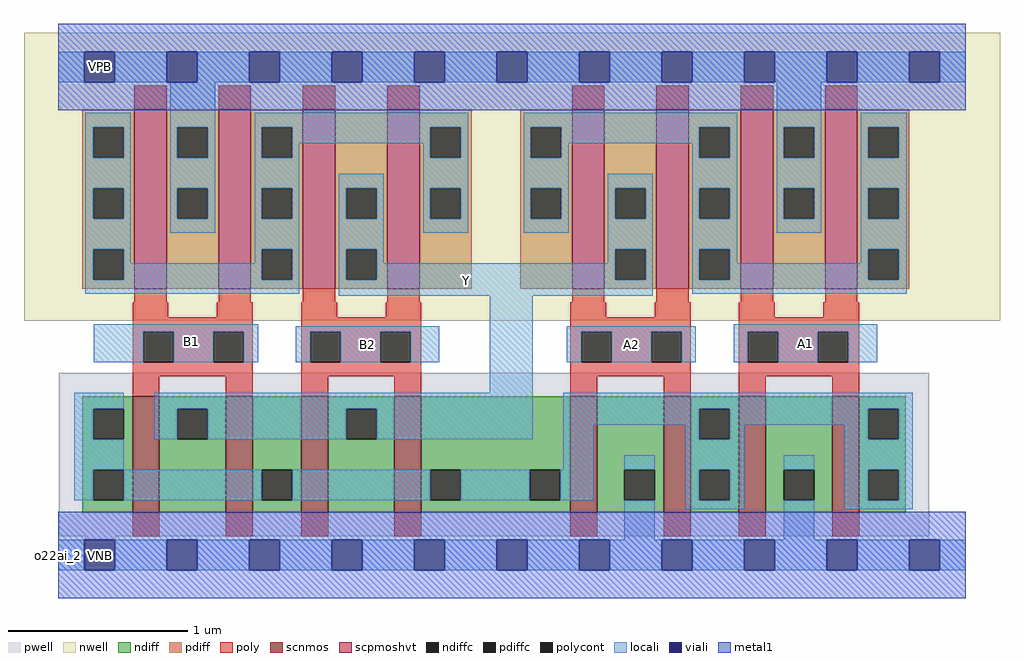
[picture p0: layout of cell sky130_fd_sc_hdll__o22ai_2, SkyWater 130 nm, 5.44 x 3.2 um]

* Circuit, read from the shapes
.subckt sky130_fd_sc_hdll__o22ai_2 A1 A2 B1 B2 VGND VNB VPB VPWR Y
XM1 Y B1 n1 VNB sky130_fd_pr__nfet_01v8 w=0.65 l=0.15 m=2
XM2 Y B2 n1 VNB sky130_fd_pr__nfet_01v8 w=0.65 l=0.15 m=2
XM3 VGND A2 n1 VNB sky130_fd_pr__nfet_01v8 w=0.65 l=0.15 m=2
XM4 VGND A1 n1 VNB sky130_fd_pr__nfet_01v8 w=0.65 l=0.15 m=2
XM5 VPWR B1 n2 VPB sky130_fd_pr__pfet_01v8_hvt w=1 l=0.18 m=2
XM6 Y B2 n2 VPB sky130_fd_pr__pfet_01v8_hvt w=1 l=0.18 m=2
XM7 Y A2 n3 VPB sky130_fd_pr__pfet_01v8_hvt w=1 l=0.18 m=2
XM8 VPWR A1 n3 VPB sky130_fd_pr__pfet_01v8_hvt w=1 l=0.18 m=2
.ends

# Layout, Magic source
magic
tech sky130A
magscale 1 2
<< nwell >>
rect -38 261 1050 582
<< pwell >>
rect 1 21 971 203
rect 30 -17 64 21
<< scnmos >>
rect 83 47 113 177
rect 187 47 217 177
rect 271 47 301 177
rect 375 47 405 177
rect 571 47 601 177
rect 675 47 705 177
rect 759 47 789 177
rect 863 47 893 177
<< scpmoshvt >>
rect 85 297 121 497
rect 179 297 215 497
rect 273 297 309 497
rect 367 297 403 497
rect 573 297 609 497
rect 667 297 703 497
rect 761 297 797 497
rect 855 297 891 497
<< ndiff >>
rect 27 163 83 177
rect 27 129 39 163
rect 73 129 83 163
rect 27 95 83 129
rect 27 61 39 95
rect 73 61 83 95
rect 27 47 83 61
rect 113 163 187 177
rect 113 129 133 163
rect 167 129 187 163
rect 113 47 187 129
rect 217 95 271 177
rect 217 61 227 95
rect 261 61 271 95
rect 217 47 271 61
rect 301 163 375 177
rect 301 129 321 163
rect 355 129 375 163
rect 301 47 375 129
rect 405 95 571 177
rect 405 61 415 95
rect 449 61 526 95
rect 560 61 571 95
rect 405 47 571 61
rect 601 95 675 177
rect 601 61 631 95
rect 665 61 675 95
rect 601 47 675 61
rect 705 163 759 177
rect 705 129 715 163
rect 749 129 759 163
rect 705 95 759 129
rect 705 61 715 95
rect 749 61 759 95
rect 705 47 759 61
rect 789 95 863 177
rect 789 61 809 95
rect 843 61 863 95
rect 789 47 863 61
rect 893 163 945 177
rect 893 129 903 163
rect 937 129 945 163
rect 893 95 945 129
rect 893 61 903 95
rect 937 61 945 95
rect 893 47 945 61
<< pdiff >>
rect 27 477 85 497
rect 27 443 39 477
rect 73 443 85 477
rect 27 409 85 443
rect 27 375 39 409
rect 73 375 85 409
rect 27 341 85 375
rect 27 307 39 341
rect 73 307 85 341
rect 27 297 85 307
rect 121 477 179 497
rect 121 443 133 477
rect 167 443 179 477
rect 121 409 179 443
rect 121 375 133 409
rect 167 375 179 409
rect 121 297 179 375
rect 215 477 273 497
rect 215 443 227 477
rect 261 443 273 477
rect 215 409 273 443
rect 215 375 227 409
rect 261 375 273 409
rect 215 341 273 375
rect 215 307 227 341
rect 261 307 273 341
rect 215 297 273 307
rect 309 409 367 497
rect 309 375 321 409
rect 355 375 367 409
rect 309 341 367 375
rect 309 307 321 341
rect 355 307 367 341
rect 309 297 367 307
rect 403 477 461 497
rect 403 443 415 477
rect 449 443 461 477
rect 403 409 461 443
rect 403 375 415 409
rect 449 375 461 409
rect 403 297 461 375
rect 515 477 573 497
rect 515 443 527 477
rect 561 443 573 477
rect 515 409 573 443
rect 515 375 527 409
rect 561 375 573 409
rect 515 297 573 375
rect 609 409 667 497
rect 609 375 621 409
rect 655 375 667 409
rect 609 341 667 375
rect 609 307 621 341
rect 655 307 667 341
rect 609 297 667 307
rect 703 477 761 497
rect 703 443 715 477
rect 749 443 761 477
rect 703 409 761 443
rect 703 375 715 409
rect 749 375 761 409
rect 703 341 761 375
rect 703 307 715 341
rect 749 307 761 341
rect 703 297 761 307
rect 797 477 855 497
rect 797 443 809 477
rect 843 443 855 477
rect 797 409 855 443
rect 797 375 809 409
rect 843 375 855 409
rect 797 297 855 375
rect 891 477 949 497
rect 891 443 903 477
rect 937 443 949 477
rect 891 409 949 443
rect 891 375 903 409
rect 937 375 949 409
rect 891 341 949 375
rect 891 307 903 341
rect 937 307 949 341
rect 891 297 949 307
<< ndiffc >>
rect 39 129 73 163
rect 39 61 73 95
rect 133 129 167 163
rect 227 61 261 95
rect 321 129 355 163
rect 415 61 449 95
rect 526 61 560 95
rect 631 61 665 95
rect 715 129 749 163
rect 715 61 749 95
rect 809 61 843 95
rect 903 129 937 163
rect 903 61 937 95
<< pdiffc >>
rect 39 443 73 477
rect 39 375 73 409
rect 39 307 73 341
rect 133 443 167 477
rect 133 375 167 409
rect 227 443 261 477
rect 227 375 261 409
rect 227 307 261 341
rect 321 375 355 409
rect 321 307 355 341
rect 415 443 449 477
rect 415 375 449 409
rect 527 443 561 477
rect 527 375 561 409
rect 621 375 655 409
rect 621 307 655 341
rect 715 443 749 477
rect 715 375 749 409
rect 715 307 749 341
rect 809 443 843 477
rect 809 375 843 409
rect 903 443 937 477
rect 903 375 937 409
rect 903 307 937 341
<< poly >>
rect 85 497 121 523
rect 179 497 215 523
rect 273 497 309 523
rect 367 497 403 523
rect 573 497 609 523
rect 667 497 703 523
rect 761 497 797 523
rect 855 497 891 523
rect 85 282 121 297
rect 179 282 215 297
rect 273 282 309 297
rect 367 282 403 297
rect 573 282 609 297
rect 667 282 703 297
rect 761 282 797 297
rect 855 282 891 297
rect 83 265 123 282
rect 177 265 217 282
rect 83 249 217 265
rect 83 215 95 249
rect 129 215 173 249
rect 207 215 217 249
rect 83 199 217 215
rect 83 177 113 199
rect 187 177 217 199
rect 271 265 311 282
rect 365 265 405 282
rect 271 249 405 265
rect 271 215 281 249
rect 315 215 359 249
rect 393 215 405 249
rect 271 199 405 215
rect 271 177 301 199
rect 375 177 405 199
rect 571 265 611 282
rect 665 265 705 282
rect 571 249 705 265
rect 571 215 583 249
rect 617 215 661 249
rect 695 215 705 249
rect 571 199 705 215
rect 571 177 601 199
rect 675 177 705 199
rect 759 265 799 282
rect 853 265 893 282
rect 759 249 893 265
rect 759 215 769 249
rect 803 215 847 249
rect 881 215 893 249
rect 759 199 893 215
rect 759 177 789 199
rect 863 177 893 199
rect 83 21 113 47
rect 187 21 217 47
rect 271 21 301 47
rect 375 21 405 47
rect 571 21 601 47
rect 675 21 705 47
rect 759 21 789 47
rect 863 21 893 47
<< polycont >>
rect 95 215 129 249
rect 173 215 207 249
rect 281 215 315 249
rect 359 215 393 249
rect 583 215 617 249
rect 661 215 695 249
rect 769 215 803 249
rect 847 215 881 249
<< locali >>
rect 0 527 29 561
rect 63 527 121 561
rect 155 527 213 561
rect 247 527 305 561
rect 339 527 397 561
rect 431 527 489 561
rect 523 527 581 561
rect 615 527 673 561
rect 707 527 765 561
rect 799 527 857 561
rect 891 527 949 561
rect 983 527 1012 561
rect 30 477 81 493
rect 30 443 39 477
rect 73 443 81 477
rect 30 409 81 443
rect 30 375 39 409
rect 73 375 81 409
rect 30 341 81 375
rect 125 477 175 527
rect 125 443 133 477
rect 167 443 175 477
rect 125 409 175 443
rect 125 375 133 409
rect 167 375 175 409
rect 125 359 175 375
rect 219 477 457 493
rect 219 443 227 477
rect 261 459 415 477
rect 261 443 269 459
rect 219 409 269 443
rect 407 443 415 459
rect 449 443 457 477
rect 219 375 227 409
rect 261 375 269 409
rect 30 307 39 341
rect 73 325 81 341
rect 219 341 269 375
rect 219 325 227 341
rect 73 307 227 325
rect 261 307 269 341
rect 30 291 269 307
rect 313 409 363 425
rect 313 375 321 409
rect 355 375 363 409
rect 313 341 363 375
rect 407 409 457 443
rect 407 375 415 409
rect 449 375 457 409
rect 407 359 457 375
rect 519 477 757 493
rect 519 443 527 477
rect 561 459 715 477
rect 561 443 569 459
rect 519 409 569 443
rect 707 443 715 459
rect 749 443 757 477
rect 519 375 527 409
rect 561 375 569 409
rect 519 359 569 375
rect 613 409 663 425
rect 613 375 621 409
rect 655 375 663 409
rect 313 307 321 341
rect 355 325 363 341
rect 613 341 663 375
rect 613 325 621 341
rect 355 307 621 325
rect 655 307 663 341
rect 313 289 663 307
rect 707 409 757 443
rect 707 375 715 409
rect 749 375 757 409
rect 707 341 757 375
rect 801 477 851 527
rect 801 443 809 477
rect 843 443 851 477
rect 801 409 851 443
rect 801 375 809 409
rect 843 375 851 409
rect 801 359 851 375
rect 895 477 946 493
rect 895 443 903 477
rect 937 443 946 477
rect 895 409 946 443
rect 895 375 903 409
rect 937 375 946 409
rect 707 307 715 341
rect 749 325 757 341
rect 895 341 946 375
rect 895 325 903 341
rect 749 307 903 325
rect 937 307 946 341
rect 707 291 946 307
rect 40 249 223 257
rect 40 215 95 249
rect 129 215 173 249
rect 207 215 223 249
rect 265 249 425 255
rect 265 215 281 249
rect 315 215 359 249
rect 393 215 425 249
rect 481 181 529 289
rect 567 249 711 255
rect 567 215 583 249
rect 617 215 661 249
rect 695 215 711 249
rect 753 249 913 257
rect 753 215 769 249
rect 803 215 847 249
rect 881 215 913 249
rect 18 163 73 181
rect 18 129 39 163
rect 107 163 529 181
rect 107 129 133 163
rect 167 129 321 163
rect 355 129 529 163
rect 563 163 953 181
rect 563 145 715 163
rect 18 95 73 129
rect 563 95 597 145
rect 699 129 715 145
rect 749 145 903 163
rect 749 129 765 145
rect 18 61 39 95
rect 73 61 227 95
rect 261 61 415 95
rect 449 61 526 95
rect 560 61 597 95
rect 631 95 665 111
rect 631 17 665 61
rect 699 95 765 129
rect 877 129 903 145
rect 937 129 953 163
rect 699 61 715 95
rect 749 61 765 95
rect 699 51 765 61
rect 809 95 843 111
rect 809 17 843 61
rect 877 95 953 129
rect 877 61 903 95
rect 937 61 953 95
rect 877 51 953 61
rect 0 -17 29 17
rect 63 -17 121 17
rect 155 -17 213 17
rect 247 -17 305 17
rect 339 -17 397 17
rect 431 -17 489 17
rect 523 -17 581 17
rect 615 -17 673 17
rect 707 -17 765 17
rect 799 -17 857 17
rect 891 -17 949 17
rect 983 -17 1012 17
<< viali >>
rect 29 527 63 561
rect 121 527 155 561
rect 213 527 247 561
rect 305 527 339 561
rect 397 527 431 561
rect 489 527 523 561
rect 581 527 615 561
rect 673 527 707 561
rect 765 527 799 561
rect 857 527 891 561
rect 949 527 983 561
rect 29 -17 63 17
rect 121 -17 155 17
rect 213 -17 247 17
rect 305 -17 339 17
rect 397 -17 431 17
rect 489 -17 523 17
rect 581 -17 615 17
rect 673 -17 707 17
rect 765 -17 799 17
rect 857 -17 891 17
rect 949 -17 983 17
<< metal1 >>
rect 0 561 1012 592
rect 0 527 29 561
rect 63 527 121 561
rect 155 527 213 561
rect 247 527 305 561
rect 339 527 397 561
rect 431 527 489 561
rect 523 527 581 561
rect 615 527 673 561
rect 707 527 765 561
rect 799 527 857 561
rect 891 527 949 561
rect 983 527 1012 561
rect 0 496 1012 527
rect 0 17 1012 48
rect 0 -17 29 17
rect 63 -17 121 17
rect 155 -17 213 17
rect 247 -17 305 17
rect 339 -17 397 17
rect 431 -17 489 17
rect 523 -17 581 17
rect 615 -17 673 17
rect 707 -17 765 17
rect 799 -17 857 17
rect 891 -17 949 17
rect 983 -17 1012 17
rect 0 -48 1012 -17
<< labels >>
flabel locali s 265 215 425 255 0 FreeSans 400 0 0 0 B2
port 4 nsew signal input
flabel locali s 132 221 166 255 0 FreeSans 400 0 0 0 B1
port 3 nsew signal input
flabel locali s 438 289 472 323 0 FreeSans 400 0 0 0 Y
port 9 nsew signal output
flabel locali s 753 215 913 257 0 FreeSans 400 0 0 0 A1
port 1 nsew signal input
flabel locali s 567 215 711 255 0 FreeSans 400 0 0 0 A2
port 2 nsew signal input
flabel nwell s 30 527 64 561 0 FreeSans 200 0 0 0 VPB
port 7 nsew power bidirectional
flabel pwell s 30 -17 64 17 0 FreeSans 200 0 0 0 VNB
port 6 nsew ground bidirectional
flabel metal1 s 30 -17 64 17 0 FreeSans 200 0 0 0 VGND
port 5 nsew ground bidirectional
flabel metal1 s 30 527 64 561 0 FreeSans 200 0 0 0 VPWR
port 8 nsew power bidirectional
rlabel comment s 0 0 0 0 4 o22ai_2
<< properties >>
string LEFsite unithd
string LEFclass CORE
string FIXED_BBOX 0 0 1012 544
string GDS_FILE $PDKPATH/libs.ref/sky130_fd_sc_hdll/gds/sky130_fd_sc_hdll.gds
string LEFsymmetry X Y R90
string GDS_END 179160
string GDS_START 171044
string LEFproperties maskLayoutSubType "abstract" prCellType "standard" originalViewName "layout"
<< end >>
